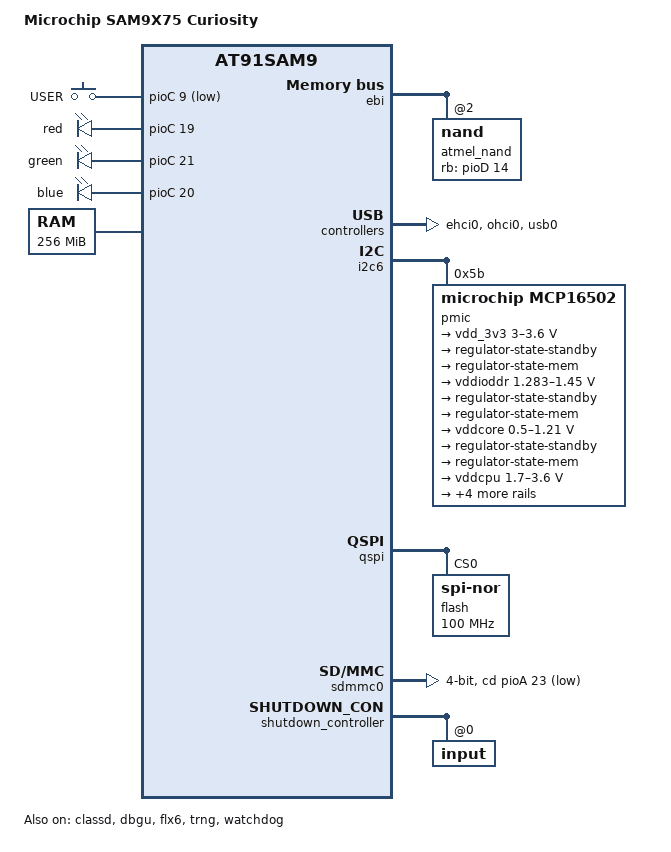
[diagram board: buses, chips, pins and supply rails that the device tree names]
// SPDX-License-Identifier: (GPL-2.0+ OR MIT)
/*
 * at91-sam9x75_curiosity.dts - Device Tree file for Microchip SAM9X75 Curiosity board
 *
 * Copyright (C) 2023 Microchip Technology Inc. and its subsidiaries
 *
 * Author: Varshini Rajendran <varshini.rajendran@microchip.com>
 */
/dts-v1/;
#include "sam9x7.dtsi"
#include <dt-bindings/input/input.h>

/ {
	model = "Microchip SAM9X75 Curiosity";
	compatible = "microchip,sam9x75-curiosity", "microchip,sam9x7", "atmel,at91sam9";

	aliases {
		i2c0 = &i2c6;
	};

	chosen {
		stdout-path = "serial0:115200n8";
	};

	gpio-keys {
		compatible = "gpio-keys";
		pinctrl-names = "default";
		pinctrl-0 = <&pinctrl_key_gpio_default>;

		button-user {
			label = "USER";
			gpios = <&pioC 9 GPIO_ACTIVE_LOW>;
			linux,code = <KEY_0>;
			wakeup-source;
		};
	};

	leds {
		compatible = "gpio-leds";
		pinctrl-names = "default";
		pinctrl-0 = <&pinctrl_led_gpio_default>;

		led-red {
			label = "red";
			gpios = <&pioC 19 GPIO_ACTIVE_HIGH>;
		};

		led-green {
			label = "green";
			gpios = <&pioC 21 GPIO_ACTIVE_HIGH>;
		};

		led-blue {
			label = "blue";
			gpios = <&pioC 20 GPIO_ACTIVE_HIGH>;
			linux,default-trigger = "heartbeat";
		};
	};

	memory@20000000 {
		device_type = "memory";
		reg = <0x20000000 0x10000000>;
	};
};

&classd {
	pinctrl-names = "default";
	pinctrl-0 = <&pinctrl_classd>;
	atmel,pwm-type = "diff";
	atmel,non-overlap-time = <10>;
	status = "okay";
};

&dbgu {
	pinctrl-names = "default";
	pinctrl-0 = <&pinctrl_dbgu>;
	status = "okay";
};

&dma0 {
	status = "okay";
};

&ebi {
	pinctrl-names = "default";
	pinctrl-0 = <&pinctrl_ebi_addr_nand &pinctrl_ebi_data_0_7>;
	status = "okay";

	nand_controller: nand-controller {
		pinctrl-names = "default";
		pinctrl-0 = <&pinctrl_nand_oe_we &pinctrl_nand_cs &pinctrl_nand_rb>;
		status = "okay";

		nand@2 {
			reg = <0x2 0x0 0x800000>;
			rb-gpios = <&pioD 14 GPIO_ACTIVE_HIGH>;
			cs-gpios = <&pioD 4 GPIO_ACTIVE_HIGH>;
			nand-bus-width = <8>;
			nand-ecc-mode = "hw";
			nand-ecc-strength = <8>;
			nand-ecc-step-size = <512>;
			nand-on-flash-bbt;
			label = "atmel_nand";
		};
	};
};

&ehci0 {
	status = "okay";
};

&flx6 {
	atmel,flexcom-mode = <ATMEL_FLEXCOM_MODE_TWI>;
	status = "okay";
};

&i2c6 {
	#address-cells = <1>;
	#size-cells = <0>;
	pinctrl-names = "default";
	pinctrl-0 = <&pinctrl_flx6_twi_default>;
	i2c-analog-filter;
	i2c-digital-filter;
	i2c-digital-filter-width-ns = <35>;
	status = "okay";

	pmic@5b {
		compatible = "microchip,mcp16502";
		reg = <0x5b>;

		regulators {
			vdd_3v3: VDD_IO {
				regulator-name = "VDD_IO";
				regulator-min-microvolt = <3000000>;
				regulator-max-microvolt = <3600000>;
				regulator-initial-mode = <2>;
				regulator-allowed-modes = <2>, <4>;
				regulator-always-on;

				regulator-state-standby {
					regulator-on-in-suspend;
					regulator-mode = <4>;
				};

				regulator-state-mem {
					regulator-mode = <4>;
				};
			};

			vddioddr: VDD_DDR {
				regulator-name = "VDD_DDR";
				regulator-min-microvolt = <1283000>;
				regulator-max-microvolt = <1450000>;
				regulator-initial-mode = <2>;
				regulator-allowed-modes = <2>, <4>;
				regulator-always-on;

				regulator-state-standby {
					regulator-on-in-suspend;
					regulator-mode = <4>;
				};

				regulator-state-mem {
					regulator-on-in-suspend;
					regulator-mode = <4>;
				};
			};

			vddcore: VDD_CORE {
				regulator-name = "VDD_CORE";
				regulator-min-microvolt = <500000>;
				regulator-max-microvolt = <1210000>;
				regulator-initial-mode = <2>;
				regulator-allowed-modes = <2>, <4>;
				regulator-always-on;

				regulator-state-standby {
					regulator-on-in-suspend;
					regulator-mode = <4>;
				};

				regulator-state-mem {
					regulator-mode = <4>;
				};
			};

			vddcpu: VDD_OTHER {
				regulator-name = "VDD_OTHER";
				regulator-min-microvolt = <1700000>;
				regulator-max-microvolt = <3600000>;
				regulator-initial-mode = <2>;
				regulator-allowed-modes = <2>, <4>;
				regulator-ramp-delay = <3125>;
				regulator-always-on;

				regulator-state-standby {
					regulator-on-in-suspend;
					regulator-mode = <4>;
				};

				regulator-state-mem {
					regulator-mode = <4>;
				};
			};

			vldo1: LDO1 {
				regulator-name = "LDO1";
				regulator-min-microvolt = <1200000>;
				regulator-max-microvolt = <3700000>;
				regulator-always-on;

				regulator-state-standby {
					regulator-on-in-suspend;
				};
			};

			vldo2: LDO2 {
				regulator-name = "LDO2";
				regulator-min-microvolt = <1200000>;
				regulator-max-microvolt = <3700000>;

				regulator-state-standby {
					regulator-on-in-suspend;
				};
			};
		};
	};
};

&main_xtal {
	clock-frequency = <24000000>;
};

&ohci0 {
	num-ports = <3>;
	atmel,vbus-gpio = <0
			   &pioC 27 GPIO_ACTIVE_HIGH
			   &pioB 18 GPIO_ACTIVE_HIGH>;
	pinctrl-names = "default";
	pinctrl-0 = <&pinctrl_usb_default>;
	status = "okay";
};

&pinctrl {

	classd {
		pinctrl_classd: classd {
			atmel,pins =
				<AT91_PIOA 18 AT91_PERIPH_C AT91_PINCTRL_PULL_UP
				 AT91_PIOA 19 AT91_PERIPH_C AT91_PINCTRL_PULL_DOWN>;
		};
	};

	dbgu {
		pinctrl_dbgu: dbgu {
			atmel,pins = <AT91_PIOA 26 AT91_PERIPH_A AT91_PINCTRL_PULL_UP
				      AT91_PIOA 27 AT91_PERIPH_A AT91_PINCTRL_NONE>;
		};
	};

	ebi {
		pinctrl_ebi_data_0_7: ebi-data-lsb-0 {
			atmel,pins =
				<AT91_PIOD 6 AT91_PERIPH_A (AT91_PINCTRL_NONE | AT91_PINCTRL_SLEWRATE_DIS)
				 AT91_PIOD 7 AT91_PERIPH_A (AT91_PINCTRL_NONE | AT91_PINCTRL_SLEWRATE_DIS)
				 AT91_PIOD 8 AT91_PERIPH_A (AT91_PINCTRL_NONE | AT91_PINCTRL_SLEWRATE_DIS)
				 AT91_PIOD 9 AT91_PERIPH_A (AT91_PINCTRL_NONE | AT91_PINCTRL_SLEWRATE_DIS)
				 AT91_PIOD 10 AT91_PERIPH_A (AT91_PINCTRL_NONE | AT91_PINCTRL_SLEWRATE_DIS)
				 AT91_PIOD 11 AT91_PERIPH_A (AT91_PINCTRL_NONE | AT91_PINCTRL_SLEWRATE_DIS)
				 AT91_PIOD 12 AT91_PERIPH_A (AT91_PINCTRL_NONE | AT91_PINCTRL_SLEWRATE_DIS)
				 AT91_PIOD 13 AT91_PERIPH_A (AT91_PINCTRL_NONE | AT91_PINCTRL_SLEWRATE_DIS)>;
		};

		pinctrl_ebi_addr_nand: ebi-addr-0 {
			atmel,pins =
				<AT91_PIOD 2 AT91_PERIPH_A (AT91_PINCTRL_NONE | AT91_PINCTRL_SLEWRATE_DIS)
				 AT91_PIOD 3 AT91_PERIPH_A (AT91_PINCTRL_NONE | AT91_PINCTRL_SLEWRATE_DIS)>;
		};
	};

	qspi {
		pinctrl_qspi: pinctrl-qspi {
			atmel,pins =
				<AT91_PIOB 19 AT91_PERIPH_A AT91_PINCTRL_SLEWRATE_DIS
				 AT91_PIOB 20 AT91_PERIPH_A AT91_PINCTRL_SLEWRATE_DIS
				 AT91_PIOB 21 AT91_PERIPH_A (AT91_PINCTRL_PULL_UP | AT91_PINCTRL_SLEWRATE_DIS)
				 AT91_PIOB 22 AT91_PERIPH_A (AT91_PINCTRL_PULL_UP | AT91_PINCTRL_SLEWRATE_DIS)
				 AT91_PIOB 23 AT91_PERIPH_A (AT91_PINCTRL_PULL_UP | AT91_PINCTRL_SLEWRATE_DIS)
				 AT91_PIOB 24 AT91_PERIPH_A (AT91_PINCTRL_PULL_UP | AT91_PINCTRL_SLEWRATE_DIS)>;
		};
	};

	flexcom {
		pinctrl_flx6_twi_default: flx6-twi-default {
			atmel,pins =
				<AT91_PIOA 24 AT91_PERIPH_A AT91_PINCTRL_PULL_UP
				 AT91_PIOA 25 AT91_PERIPH_A AT91_PINCTRL_PULL_UP>;
		};
	};

	gpio-keys {
		pinctrl_key_gpio_default: key-gpio-default {
			atmel,pins = <AT91_PIOC 9 AT91_PERIPH_GPIO AT91_PINCTRL_NONE>;
		};
	};

	leds {
		pinctrl_led_gpio_default: led-gpio-default {
			atmel,pins = <AT91_PIOC 19 AT91_PERIPH_GPIO AT91_PINCTRL_NONE
				      AT91_PIOC 21 AT91_PERIPH_GPIO AT91_PINCTRL_NONE
				      AT91_PIOC 20 AT91_PERIPH_GPIO AT91_PINCTRL_NONE>;
		};
	};

	nand {
		pinctrl_nand_oe_we: nand-oe-we-0 {
			atmel,pins =
				<AT91_PIOD 0 AT91_PERIPH_A (AT91_PINCTRL_NONE | AT91_PINCTRL_SLEWRATE_DIS)
				 AT91_PIOD 1 AT91_PERIPH_A (AT91_PINCTRL_NONE | AT91_PINCTRL_SLEWRATE_DIS)>;
		};

		pinctrl_nand_rb: nand-rb-0 {
			atmel,pins =
				<AT91_PIOD 14 AT91_PERIPH_GPIO AT91_PINCTRL_PULL_UP>;
		};

		pinctrl_nand_cs: nand-cs-0 {
			atmel,pins =
				<AT91_PIOD 4 AT91_PERIPH_GPIO AT91_PINCTRL_PULL_UP>;
		};
	};

	ohci0 {
		pinctrl_usb_default: usb-default {
			atmel,pins = <AT91_PIOC 27 AT91_PERIPH_GPIO AT91_PINCTRL_NONE
				      AT91_PIOB 18 AT91_PERIPH_GPIO AT91_PINCTRL_NONE>;
		};
	};

	sdmmc0 {
		pinctrl_sdmmc0_default: sdmmc0-default {
			atmel,pins =
				<AT91_PIOA 2 AT91_PERIPH_A (AT91_PINCTRL_DRIVE_STRENGTH_HI | AT91_PINCTRL_SLEWRATE_DIS)					/* PA2 CK  periph A with pullup */
				 AT91_PIOA 1 AT91_PERIPH_A (AT91_PINCTRL_PULL_UP | AT91_PINCTRL_DRIVE_STRENGTH_HI | AT91_PINCTRL_SLEWRATE_DIS)		/* PA1 CMD periph A with pullup */
				 AT91_PIOA 0 AT91_PERIPH_A (AT91_PINCTRL_PULL_UP | AT91_PINCTRL_DRIVE_STRENGTH_HI | AT91_PINCTRL_SLEWRATE_DIS)		/* PA0 DAT0 periph A */
				 AT91_PIOA 3 AT91_PERIPH_A (AT91_PINCTRL_PULL_UP | AT91_PINCTRL_DRIVE_STRENGTH_HI | AT91_PINCTRL_SLEWRATE_DIS)		/* PA3 DAT1 periph A with pullup */
				 AT91_PIOA 4 AT91_PERIPH_A (AT91_PINCTRL_PULL_UP | AT91_PINCTRL_DRIVE_STRENGTH_HI | AT91_PINCTRL_SLEWRATE_DIS)		/* PA4 DAT2 periph A with pullup */
				 AT91_PIOA 5 AT91_PERIPH_A (AT91_PINCTRL_PULL_UP | AT91_PINCTRL_DRIVE_STRENGTH_HI | AT91_PINCTRL_SLEWRATE_DIS)>;	/* PA5 DAT3 periph A with pullup */
		};
	};

	usb0 {
		pinctrl_usba_vbus: usba-vbus {
			atmel,pins = <AT91_PIOC 8 AT91_PERIPH_GPIO AT91_PINCTRL_NONE>;
		};
	};
}; /* pinctrl */

&rtt {
	atmel,rtt-rtc-time-reg = <&gpbr 0x0>;
};

&qspi {
	pinctrl-names = "default";
	pinctrl-0 = <&pinctrl_qspi>;
	status = "okay";

	flash@0 {
		#address-cells = <1>;
		#size-cells = <1>;
		compatible = "jedec,spi-nor";
		reg = <0>;
		spi-max-frequency = <100000000>;
		spi-tx-bus-width = <4>;
		spi-rx-bus-width = <4>;
		m25p,fast-read;

		at91bootstrap@0 {
			label = "qspi: at91bootstrap";
			reg = <0x0 0x40000>;
		};

		bootloader@40000 {
			label = "qspi: bootloader";
			reg = <0x40000 0xc0000>;
		};

		bootloaderenvred@100000 {
			label = "qspi: bootloader env redundant";
			reg = <0x100000 0x40000>;
		};

		bootloaderenv@140000 {
			label = "qspi: bootloader env";
			reg = <0x140000 0x40000>;
		};

		dtb@180000 {
			label = "qspi: device tree";
			reg = <0x180000 0x80000>;
		};

		kernel@200000 {
			label = "qspi: kernel";
			reg = <0x200000 0x600000>;
		};
	};
};

&sdmmc0 {
	bus-width = <4>;
	pinctrl-names = "default";
	pinctrl-0 = <&pinctrl_sdmmc0_default>;
	cd-gpios = <&pioA 23 GPIO_ACTIVE_LOW>;
	disable-wp;
	status = "okay";
};

&slow_xtal {
	clock-frequency = <32768>;
};

&shutdown_controller {
	debounce-delay-us = <976>;
	status = "okay";

	input@0 {
		reg = <0>;
	};
};

&trng {
	status = "okay";
};

&usb0 {
	atmel,vbus-gpio = <&pioC 8 GPIO_ACTIVE_HIGH>;
	pinctrl-names = "default";
	pinctrl-0 = <&pinctrl_usba_vbus>;
	status = "okay";
};

&watchdog {
	status = "okay";
};
